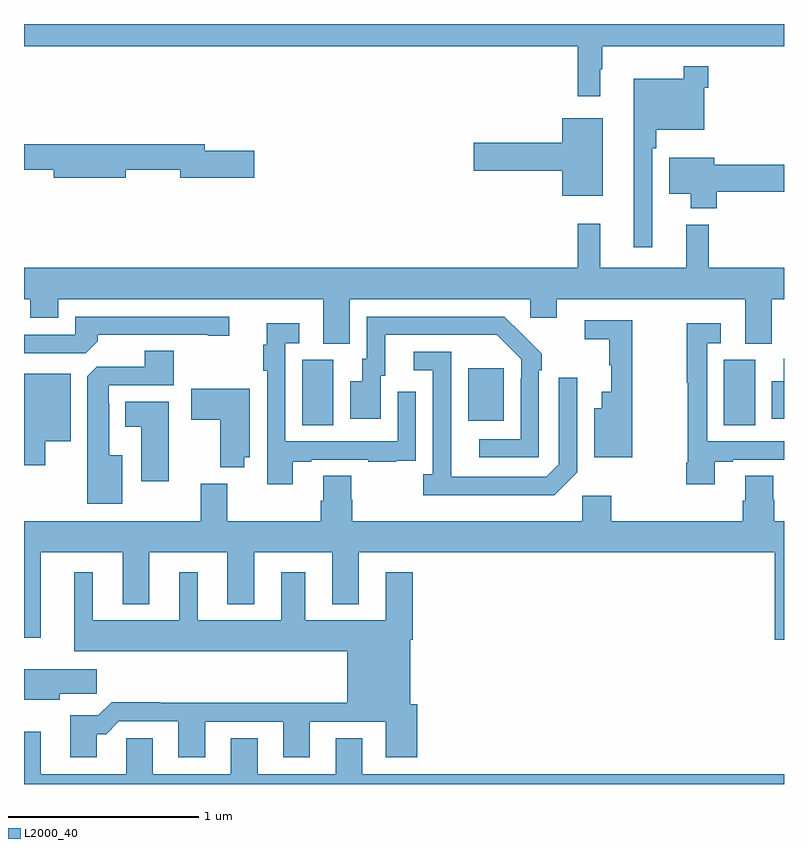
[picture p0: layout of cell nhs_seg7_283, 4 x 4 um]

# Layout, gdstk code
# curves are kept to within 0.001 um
import gdstk
lib = gdstk.Library(unit=1e-6, precision=1e-09)
def R(c, l, rs):  # rectangles x0, y0, x1, y1
    for r in rs: c.add(gdstk.rectangle(r[:2], r[2:], *l))
def P(c, l, *ps):  # polygons
    for p in ps: c.add(gdstk.Polygon(p, *l))
L2000_40 = (2000, 40)

nhs_seg7_283 = lib.new_cell('nhs_seg7_283')
R(nhs_seg7_283, L2000_40, [(132.464,1063.888,132.628,1064.232), (134.684,1063.888,134.848,1064.232), (133.337,1063.913,133.525,1064.188)])
P(nhs_seg7_283, L2000_40, [(134.032,1065.761),(134.044,1065.761),(134.044,1065.884),(135,1065.884),(135,1066),(131,1066),(131,1065.884),(133.915,1065.884),(133.915,1065.621),(134.032,1065.621)],
  [(134.307,1065.347),(134.327,1065.347),(134.327,1065.443),(134.58,1065.443),(134.58,1065.665),(134.6,1065.665),(134.6,1065.778),(134.472,1065.778),(134.472,1065.712),(134.21,1065.712),(134.21,1064.826),(134.307,1064.826)],
  [(134.047,1065.505),(133.832,1065.505),(133.832,1065.374),(133.368,1065.374),(133.368,1065.227),(133.832,1065.227),(133.832,1065.095),(134.047,1065.095)],
  [(131.536,1065.232),(131.822,1065.232),(131.822,1065.19),(132.211,1065.19),(132.211,1065.332),(131.95,1065.332),(131.95,1065.368),(131,1065.368),(131,1065.232),(131.156,1065.232),(131.156,1065.19),(131.536,1065.19)],
  [(134.645,1065.118),(135,1065.118),(135,1065.26),(134.632,1065.26),(134.632,1065.295),(134.396,1065.295),(134.396,1065.107),(134.51,1065.107),(134.51,1065.029),(134.645,1065.029)],
  [(132.715,1064.552),(133.665,1064.552),(133.665,1064.454),(133.804,1064.454),(133.804,1064.552),(134.795,1064.552),(134.795,1064.317),(134.935,1064.317),(134.935,1064.552),(135,1064.552),(135,1064.716),(134.603,1064.716),(134.603,1064.944),(134.486,1064.944),(134.486,1064.716),(134.033,1064.716),(134.033,1064.95),(133.915,1064.95),(133.915,1064.716),(131,1064.716),(131,1064.552),(131.032,1064.552),(131.032,1064.453),(131.179,1064.453),(131.179,1064.552),(132.575,1064.552),(132.575,1064.317),(132.715,1064.317)],
  [(133.71,1064.177),(133.725,1064.177),(133.725,1064.265),(133.528,1064.46),(132.804,1064.46),(132.804,1064.238),(132.779,1064.238),(132.779,1064.119),(132.716,1064.119),(132.716,1063.923),(132.877,1063.923),(132.877,1064.148),(132.901,1064.148),(132.901,1064.364),(133.489,1064.364),(133.617,1064.235),(133.617,1064.135),(133.614,1064.135),(133.614,1063.815),(133.395,1063.815),(133.395,1063.719),(133.71,1063.719)],
  [(131.387,1064.33),(131.387,1064.364),(131.966,1064.364),(131.966,1064.359),(132.079,1064.359),(132.079,1064.46),(131.271,1064.46),(131.271,1064.364),(131,1064.364),(131,1064.268),(131.325,1064.268)],
  [(134.2,1064.442),(133.95,1064.442),(133.95,1064.341),(134.079,1064.341),(134.079,1064.205),(134.09,1064.205),(134.09,1064.065),(134.042,1064.065),(134.042,1063.978),(134,1063.978),(134,1063.721),(134.2,1063.721)],
  [(132.415,1063.695),(132.511,1063.695),(132.511,1063.707),(132.811,1063.707),(132.811,1063.695),(132.959,1063.695),(132.959,1063.701),(133.061,1063.701),(133.061,1063.81),(133.062,1063.81),(133.062,1064.065),(132.966,1064.065),(132.966,1063.803),(132.375,1063.803),(132.375,1064.319),(132.448,1064.319),(132.448,1064.425),(132.278,1064.425),(132.278,1064.312),(132.259,1064.312),(132.259,1064.176),(132.279,1064.176),(132.279,1063.578),(132.415,1063.578)],
  [(134.635,1063.695),(134.731,1063.695),(134.731,1063.707),(135,1063.707),(135,1063.803),(134.595,1063.803),(134.595,1064.319),(134.668,1064.319),(134.668,1064.425),(134.487,1064.425),(134.487,1064.112),(134.494,1064.112),(134.494,1063.69),(134.486,1063.69),(134.486,1063.578),(134.635,1063.578)],
  [(131.518,1063.729),(131.449,1063.729),(131.449,1064.003),(131.445,1064.003),(131.445,1064.1),(131.789,1064.1),(131.789,1064.279),(131.636,1064.279),(131.636,1064.196),(131.382,1064.196),(131.333,1064.147),(131.333,1063.475),(131.518,1063.475)],
  [(133.911,1063.641),(133.911,1064.137),(133.815,1064.137),(133.815,1063.683),(133.749,1063.617),(133.249,1063.617),(133.248,1064.274),(133.05,1064.274),(133.05,1064.178),(133.152,1064.178),(133.152,1063.63),(133.101,1063.63),(133.101,1063.52),(133.79,1063.52)],
  [(135,1064.238),(134.999,1064.238),(134.999,1064.119),(134.936,1064.119),(134.936,1063.923),(135,1063.923)],
  [(131.113,1063.805),(131.245,1063.805),(131.245,1064.158),(131,1064.158),(131,1063.677),(131.113,1063.677)],
  [(132.16,1063.719),(132.187,1063.719),(132.187,1064.08),(131.88,1064.08),(131.88,1063.918),(132.032,1063.918),(132.032,1063.667),(132.16,1063.667)],
  [(131.761,1064.011),(131.534,1064.011),(131.534,1063.88),(131.618,1063.88),(131.618,1063.593),(131.761,1063.593)],
  [(135,1063.384),(134.948,1063.384),(134.948,1063.497),(134.943,1063.497),(134.943,1063.622),(134.795,1063.622),(134.795,1063.49),(134.783,1063.49),(134.783,1063.384),(134.09,1063.384),(134.09,1063.516),(133.938,1063.516),(133.938,1063.384),(132.728,1063.384),(132.728,1063.497),(132.723,1063.497),(132.723,1063.622),(132.575,1063.622),(132.575,1063.49),(132.563,1063.49),(132.563,1063.384),(132.07,1063.384),(132.07,1063.579),(131.93,1063.579),(131.93,1063.384),(131,1063.384),(131,1062.771),(131.089,1062.771),(131.089,1063.22),(131.519,1063.22),(131.519,1062.947),(131.659,1062.947),(131.659,1063.22),(132.071,1063.22),(132.071,1062.947),(132.211,1062.947),(132.211,1063.22),(132.623,1063.22),(132.623,1062.947),(132.763,1062.947),(132.763,1063.22),(134.951,1063.22),(134.951,1062.759),(135,1062.759)],
  [(131.383,1062.263),(131.432,1062.263),(131.499,1062.33),(131.813,1062.33),(131.813,1062.141),(131.953,1062.141),(131.953,1062.327),(132.365,1062.327),(132.365,1062.141),(132.505,1062.141),(132.505,1062.327),(132.905,1062.327),(132.905,1062.141),(133.07,1062.141),(133.07,1062.42),(133.033,1062.42),(133.033,1062.758),(133.046,1062.758),(133.046,1063.114),(132.905,1063.114),(132.905,1062.862),(132.481,1062.862),(132.481,1063.114),(132.353,1063.114),(132.353,1062.862),(131.914,1062.862),(131.914,1063.114),(131.816,1063.114),(131.816,1062.862),(131.362,1062.862),(131.362,1063.114),(131.264,1063.114),(131.264,1062.698),(132.701,1062.698),(132.701,1062.428),(131.717,1062.428),(131.717,1062.431),(131.462,1062.431),(131.392,1062.361),(131.243,1062.361),(131.243,1062.141),(131.383,1062.141)],
  [(131.188,1062.475),(131.383,1062.475),(131.383,1062.604),(131,1062.604),(131,1062.443),(131.188,1062.443)],
  [(135,1062.052),(132.781,1062.052),(132.781,1062.242),(132.641,1062.242),(132.641,1062.052),(132.229,1062.052),(132.229,1062.242),(132.089,1062.242),(132.089,1062.052),(131.677,1062.052),(131.677,1062.242),(131.538,1062.242),(131.538,1062.052),(131.089,1062.052),(131.089,1062.274),(131,1062.274),(131,1062),(135,1062)])

lib.write_gds('nhs_seg7_283.gds')
